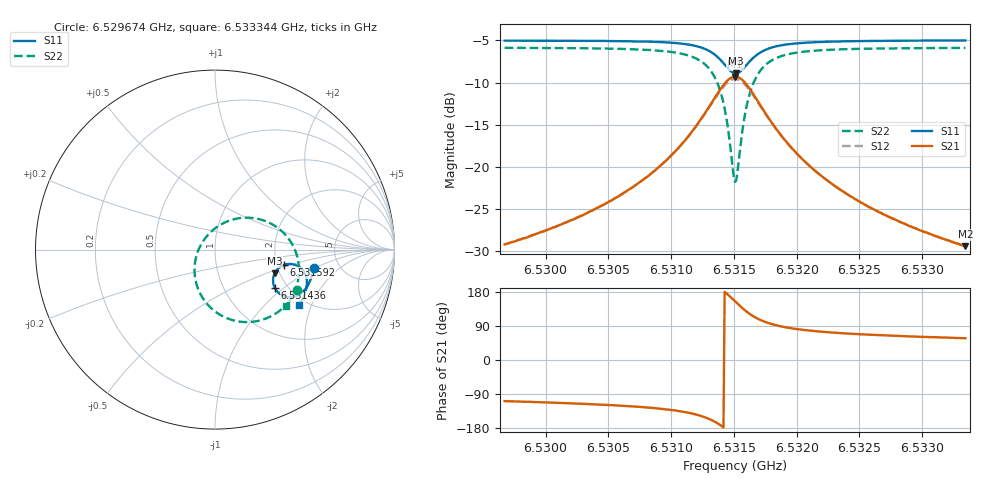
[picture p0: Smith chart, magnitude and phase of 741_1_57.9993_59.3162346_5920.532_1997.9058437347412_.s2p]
#  HZ  S  RI  R  50.00
! Rohde & Schwarz Vector Network Analyzer
! Rohde-Schwarz,ZNB20-2Port,1311601062101988,3.16
! Created: UTC 3/21/2024, 1:23:29 AM
! freq[Hz]  re:S11  im:S11  re:S21  im:S21  re:S12  im:S12  re:S22  im:S22
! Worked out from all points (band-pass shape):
!   401 points, 6.529674 GHz to 6.533344 GHz, reference 50 ohm
!   highest |S21| = -9.30 dB at 6.531509 GHz (marker M1); lowest = -29.4 dB at 6.533344 GHz (marker M2)
!   |S21| within 3 dB of the highest: 6.531327 GHz to 6.531694 GHz (367.3 kHz wide, 0.00562 % of centre)
!   lowest |S11| = -8.9 dB at 6.531518 GHz (marker M3), VSWR 2.11, Z = 94 - j28.7 ohm
!   |S11| at or under -10 dB: nowhere
!   |S22| runs from -21.8 to -5.9 dB; largest |S21 - S12| = 0.015
!   S11 on the Smith chart (normalised r, x): 6.529674 GHz: 3.22, -0.98; 6.531436 GHz: 1.72, -0.88; 6.531592 GHz: 2.19, -0.44; 6.533344 GHz: 1.81, -1.64
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6.5296737e9  0.5502 -0.1045  -0.0109 -0.0329  -0.0117 -0.0327  0.4565 -0.2226
6.5302886e9  0.5365 -0.1565  -0.0222 -0.0464  -0.0233 -0.046  0.4197 -0.2807
6.5306281e9  0.5229 -0.1892  -0.0363 -0.0604  -0.038 -0.0594  0.3828 -0.3216
6.5309034e9  0.5034 -0.2204  -0.0616 -0.0785  -0.064 -0.0766  0.3261 -0.3638
6.5311236e9  0.4707 -0.2499  -0.11 -0.0982  -0.113 -0.0941  0.2298 -0.3992
6.5312796e9  0.4198 -0.2651  -0.1894 -0.099  -0.1913 -0.0905  0.0863 -0.3896
6.5313714e9  0.3692 -0.2521  -0.2668 -0.0598  -0.2638 -0.0482  -0.0392 -0.3081
6.5314081e9  0.3474 -0.2343  -0.2983 -0.023  -0.2922 -0.0113  -0.085 -0.24
6.5314356e9  0.3336 -0.2144  -0.3171 0.015  -0.3079 0.0258  -0.1078 -0.1731
6.5314907e9  0.324 -0.161  -0.322 0.1114  -0.3087 0.1165  -0.0971 -0.0145
6.531509e9  0.3284 -0.1419  -0.3108 0.1443  -0.2974 0.1471  -0.0727 0.0369
6.5315182e9  0.3321 -0.1329  -0.3029 0.1598  -0.2894 0.1613  -0.0569 0.0605
6.5315365e9  0.3422 -0.1163  -0.2828 0.1877  -0.27 0.1871  -0.0188 0.1024
6.5315916e9  0.3856 -0.0849  -0.2029 0.2395  -0.1944 0.235  0.1211 0.1726
6.5316191e9  0.4087 -0.0801  -0.1621 0.2469  -0.1559 0.242  0.1898 0.1777
6.5316558e9  0.4362 -0.082  -0.1149 0.2435  -0.1109 0.2389  0.2681 0.1632
6.5317476e9  0.4807 -0.1061  -0.0391 0.2064  -0.0374 0.2041  0.39 0.0848
6.5318852e9  0.5061 -0.146  0.00509 0.1506  0.00629 0.1498  0.4545 -0.0256
6.5321238e9  0.512 -0.1935  0.0222 0.0955  0.0234 0.0952  0.4672 -0.1374
6.5323991e9  0.5054 -0.2293  0.0237 0.065  0.0247 0.0646  0.4542 -0.2058
6.5327386e9  0.4936 -0.2622  0.0219 0.0454  0.0226 0.0452  0.4338 -0.2565
6.5333443e9  0.4687 -0.309  0.0182 0.0286  0.0189 0.0283  0.3983 -0.3139
